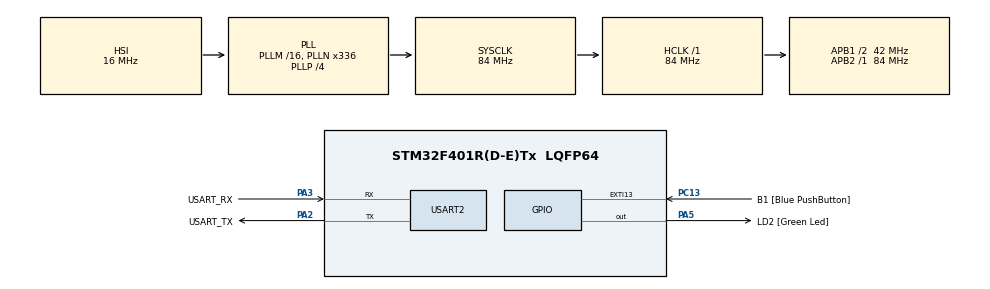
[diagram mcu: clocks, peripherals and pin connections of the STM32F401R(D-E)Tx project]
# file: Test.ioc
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Mcu.Family=STM32F4
Mcu.Name=STM32F401R(D-E)Tx
Mcu.Package=LQFP64
NVIC.PriorityGroup=NVIC_PRIORITYGROUP_0
PA13.GPIO_Label=TMS
PA13.Mode=Serial_Wire
PA13.Signal=SYS_JTMS-SWDIO
PA14.GPIO_Label=TCK
PA14.Mode=Serial_Wire
PA14.Signal=SYS_JTCK-SWCLK
PA2.GPIO_Label=USART_TX
PA2.GPIO_Mode=GPIO_MODE_AF_PP
PA2.GPIO_PuPd=GPIO_NOPULL
PA2.GPIO_Speed=GPIO_SPEED_FREQ_LOW
PA2.Mode=Asynchronous
PA2.Signal=USART2_TX
PA3.GPIO_Label=USART_RX
PA3.GPIO_Mode=GPIO_MODE_AF_PP
PA3.GPIO_PuPd=GPIO_NOPULL
PA3.GPIO_Speed=GPIO_SPEED_FREQ_LOW
PA3.Mode=Asynchronous
PA3.Signal=USART2_RX
PA5.GPIO_Label=LD2 [Green Led]
PA5.GPIO_Mode=GPIO_MODE_OUTPUT_PP
PA5.GPIO_PuPd=GPIO_NOPULL
PA5.GPIO_Speed=GPIO_SPEED_FREQ_LOW
PA5.Signal=GPIO_Output
PB3.GPIO_Label=SWO
PB3.Signal=SYS_JTDO-SWO
PC13-ANTI_TAMP.GPIO_Label=B1 [Blue PushButton]
PC13-ANTI_TAMP.GPIO_ModeDefaultEXTI=GPIO_MODE_IT_FALLING
PC13-ANTI_TAMP.GPIO_PuPd=GPIO_NOPULL
PC13-ANTI_TAMP.Signal=GPXTI13
PC14-OSC32_IN.Mode=LSE-External-Oscillator
PC14-OSC32_IN.Signal=RCC_OSC32_IN
PC15-OSC32_OUT.Mode=LSE-External-Oscillator
PC15-OSC32_OUT.Signal=RCC_OSC32_OUT
PH0\ -\ OSC_IN.Mode=HSE-External-Clock-Source
PH0\ -\ OSC_IN.Signal=RCC_OSC_IN
PH1\ -\ OSC_OUT.Mode=HSE-External-Clock-Source
PH1\ -\ OSC_OUT.Signal=RCC_OSC_OUT
ProjectManager.HeapSize=0x200
ProjectManager.StackSize=0x400
ProjectManager.TargetToolchain=Makefile
RCC.48MHZClocksFreq_Value=48000000
RCC.AHBFreq_Value=84000000
RCC.APB1CLKDivider=RCC_HCLK_DIV2
RCC.APB1Freq_Value=42000000
RCC.APB1TimFreq_Value=84000000
RCC.APB2Freq_Value=84000000
RCC.APB2TimFreq_Value=84000000
RCC.CortexFreq_Value=84000000
RCC.HCLKFreq_Value=84000000
RCC.HSE_VALUE=8000000
RCC.HSI_VALUE=16000000
RCC.PLLN=336
RCC.PLLP=RCC_PLLP_DIV4
RCC.PLLQ=7
RCC.SYSCLKFreq_VALUE=84000000
RCC.SYSCLKSource=RCC_SYSCLKSOURCE_PLLCLK
RCC.VCOOutputFreq_Value=336000000
USART2.VirtualMode=VM_ASYNC
board=NUCLEO-F401RE

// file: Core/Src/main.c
/* USER CODE BEGIN Header */
/**
  ******************************************************************************
  * @file           : main.c
  * @brief          : Main program body
  ******************************************************************************
  * @attention
  *
  * Copyright (c) 2023 STMicroelectronics.
  * All rights reserved.
  *
  * This software is licensed under terms that can be found in the LICENSE file
  * in the root directory of this software component.
  * If no LICENSE file comes with this software, it is provided AS-IS.
  *
  ******************************************************************************
  */
/* USER CODE END Header */
#include "kernel.h"

/* USER CODE BEGIN Includes */
extern void runFirstThread(void);
volatile int globalCounter = 0;
/* USER CODE END Includes */

/* USER CODE BEGIN PD */
// #define RUN_FIRST_THREAD 0x3
/* USER CODE END PD */

UART_HandleTypeDef huart2;

void SystemClock_Config(void);
static void MX_GPIO_Init(void);
static void MX_USART2_UART_Init(void);
/* USER CODE BEGIN PFP */
int _write(int file, char *ptr, int len) {
    HAL_UART_Transmit(&huart2, (uint8_t *)ptr, len, HAL_MAX_DELAY);
    return len;
}

void print_first_thread(void* args) {
  uint32_t input = *(uint32_t*)args;
  while (1) {
    printf("Thread 1: r0 has 0x%lX\n", input);
    osYield();
  }
}

void print_second_thread(void* args) {
  uint32_t input = *(uint32_t*)args;
  while (1) {
    printf("Thread 2: r0 has 0x%lX\n", input);
  }
}

void printingThread(void *args) {
  while (1) {
    printf("Count: %d\n", globalCounter);
  }
}

void mathThread(void *args) {
  mathStruct *mathArgs = (mathStruct *)args;
  int firstAdd = mathArgs->addMem;
  int firstMult = mathArgs->subMem;
  while (1) {
    globalCounter += firstAdd;
    globalCounter -= firstMult;
    osYield();
  }
}

void jumpAssembly(void* fcn)
{
__asm("MOV PC, R0");
}

void print_success(void) {
  __asm("SVC #17");
}

void print_failure(void)
{
  __asm("SVC #21");
}

void asmRunFirstThread(void) {
  __asm("SVC #3");
}

/* USER CODE END PFP */

int main(void)
{

  /* MCU Configuration--------------------------------------------------------*/

  /* Reset of all peripherals, Initializes the Flash interface and the Systick. */
  HAL_Init();

  /* Configure the system clock */
  SystemClock_Config();

  /* Initialize all configured peripherals */
  MX_GPIO_Init();
  MX_USART2_UART_Init();
  /* USER CODE BEGIN 2 */
  mathStruct myArg = { .addMem = 2, .subMem = 1 };
  /* USER CODE END 2 */

  osKernelInitialize();
  osCreateThreadWithDeadline(printingThread, NULL, 5);
  osCreateThread(mathThread, &myArg);
  osKernelStart();
  // asmRunFirstThread();

  while (1)
  {
    /* USER CODE END WHILE */

  }
}

void SystemClock_Config(void)
{
  RCC_OscInitTypeDef RCC_OscInitStruct = {0};
  RCC_ClkInitTypeDef RCC_ClkInitStruct = {0};

  /** Configure the main internal regulator output voltage
  */
  __HAL_RCC_PWR_CLK_ENABLE();
  __HAL_PWR_VOLTAGESCALING_CONFIG(PWR_REGULATOR_VOLTAGE_SCALE2);

  /** Initializes the RCC Oscillators according to the specified parameters
  * in the RCC_OscInitTypeDef structure.
  */
  RCC_OscInitStruct.OscillatorType = RCC_OSCILLATORTYPE_HSI;
  RCC_OscInitStruct.HSIState = RCC_HSI_ON;
  RCC_OscInitStruct.HSICalibrationValue = RCC_HSICALIBRATION_DEFAULT;
  RCC_OscInitStruct.PLL.PLLState = RCC_PLL_ON;
  RCC_OscInitStruct.PLL.PLLSource = RCC_PLLSOURCE_HSI;
  RCC_OscInitStruct.PLL.PLLM = 16;
  RCC_OscInitStruct.PLL.PLLN = 336;
  RCC_OscInitStruct.PLL.PLLP = RCC_PLLP_DIV4;
  RCC_OscInitStruct.PLL.PLLQ = 7;
  if (HAL_RCC_OscConfig(&RCC_OscInitStruct) != HAL_OK)
  {
    Error_Handler();
  }

  /** Initializes the CPU, AHB and APB buses clocks
  */
  RCC_ClkInitStruct.ClockType = RCC_CLOCKTYPE_HCLK|RCC_CLOCKTYPE_SYSCLK
                              |RCC_CLOCKTYPE_PCLK1|RCC_CLOCKTYPE_PCLK2;
  RCC_ClkInitStruct.SYSCLKSource = RCC_SYSCLKSOURCE_PLLCLK;
  RCC_ClkInitStruct.AHBCLKDivider = RCC_SYSCLK_DIV1;
  RCC_ClkInitStruct.APB1CLKDivider = RCC_HCLK_DIV2;
  RCC_ClkInitStruct.APB2CLKDivider = RCC_HCLK_DIV1;

  if (HAL_RCC_ClockConfig(&RCC_ClkInitStruct, FLASH_LATENCY_2) != HAL_OK)
  {
    Error_Handler();
  }
}

static void MX_USART2_UART_Init(void)
{

  huart2.Instance = USART2;
  huart2.Init.BaudRate = 115200;
  huart2.Init.WordLength = UART_WORDLENGTH_8B;
  huart2.Init.StopBits = UART_STOPBITS_1;
  huart2.Init.Parity = UART_PARITY_NONE;
  huart2.Init.Mode = UART_MODE_TX_RX;
  huart2.Init.HwFlowCtl = UART_HWCONTROL_NONE;
  huart2.Init.OverSampling = UART_OVERSAMPLING_16;
  if (HAL_UART_Init(&huart2) != HAL_OK)
  {
    Error_Handler();
  }

}

static void MX_GPIO_Init(void)
{
  GPIO_InitTypeDef GPIO_InitStruct = {0};

  /* GPIO Ports Clock Enable */
  __HAL_RCC_GPIOC_CLK_ENABLE();
  __HAL_RCC_GPIOH_CLK_ENABLE();
  __HAL_RCC_GPIOA_CLK_ENABLE();
  __HAL_RCC_GPIOB_CLK_ENABLE();

  /*Configure GPIO pin Output Level */
  HAL_GPIO_WritePin(LD2_GPIO_Port, LD2_Pin, GPIO_PIN_RESET);

  /*Configure GPIO pin : B1_Pin */
  GPIO_InitStruct.Pin = B1_Pin;
  GPIO_InitStruct.Mode = GPIO_MODE_IT_FALLING;
  GPIO_InitStruct.Pull = GPIO_NOPULL;
  HAL_GPIO_Init(B1_GPIO_Port, &GPIO_InitStruct);

  /*Configure GPIO pin : LD2_Pin */
  GPIO_InitStruct.Pin = LD2_Pin;
  GPIO_InitStruct.Mode = GPIO_MODE_OUTPUT_PP;
  GPIO_InitStruct.Pull = GPIO_NOPULL;
  GPIO_InitStruct.Speed = GPIO_SPEED_FREQ_LOW;
  HAL_GPIO_Init(LD2_GPIO_Port, &GPIO_InitStruct);

}

void Error_Handler(void)
{
  __disable_irq();
  while (1)
  {
  }
}
